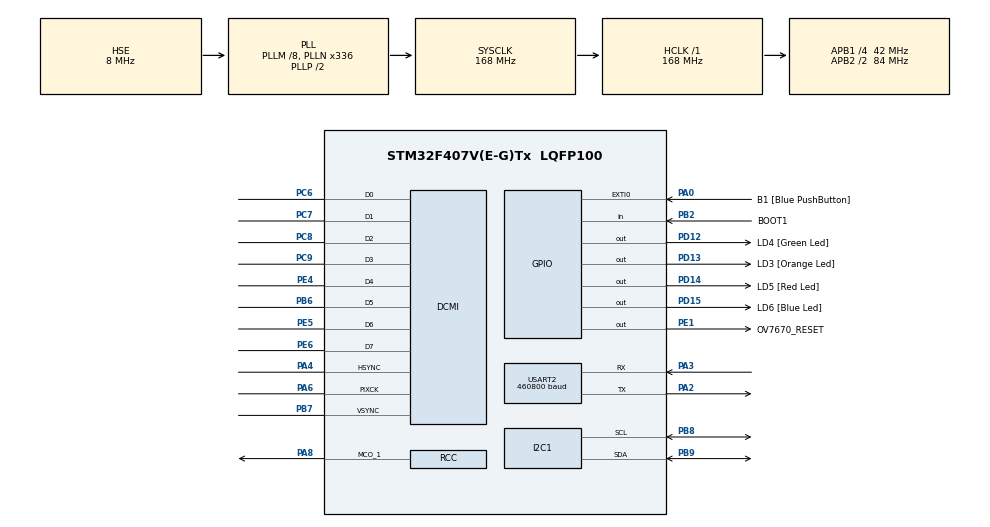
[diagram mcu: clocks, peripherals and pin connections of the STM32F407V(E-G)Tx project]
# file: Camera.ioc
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DCMI.JPEGMode=DCMI_JPEG_DISABLE
DCMI.PCKPolarity=DCMI_PCKPOLARITY_RISING
DCMI.VSPolarity=DCMI_VSPOLARITY_HIGH
Dma.DCMI.0.Direction=DMA_PERIPH_TO_MEMORY
Dma.DCMI.0.FIFOMode=DMA_FIFOMODE_DISABLE
Dma.DCMI.0.Instance=DMA2_Stream1
Dma.DCMI.0.MemDataAlignment=DMA_MDATAALIGN_WORD
Dma.DCMI.0.MemInc=DMA_MINC_ENABLE
Dma.DCMI.0.Mode=DMA_NORMAL
Dma.DCMI.0.PeriphDataAlignment=DMA_PDATAALIGN_WORD
Dma.DCMI.0.PeriphInc=DMA_PINC_DISABLE
Dma.DCMI.0.Priority=DMA_PRIORITY_HIGH
Dma.Request0=DCMI
Dma.Request1=USART2_RX
Dma.USART2_RX.1.Direction=DMA_PERIPH_TO_MEMORY
Dma.USART2_RX.1.FIFOMode=DMA_FIFOMODE_DISABLE
Dma.USART2_RX.1.Instance=DMA1_Stream5
Dma.USART2_RX.1.MemDataAlignment=DMA_MDATAALIGN_BYTE
Dma.USART2_RX.1.MemInc=DMA_MINC_ENABLE
Dma.USART2_RX.1.Mode=DMA_NORMAL
Dma.USART2_RX.1.PeriphDataAlignment=DMA_PDATAALIGN_BYTE
Dma.USART2_RX.1.PeriphInc=DMA_PINC_DISABLE
Dma.USART2_RX.1.Priority=DMA_PRIORITY_LOW
Mcu.Family=STM32F4
Mcu.Name=STM32F407V(E-G)Tx
Mcu.Package=LQFP100
NVIC.DCMI_IRQn=true\:0\:0\:false\:false\:true\:true
NVIC.DMA1_Stream5_IRQn=true\:0\:0\:false\:false\:true\:false
NVIC.DMA2_Stream1_IRQn=true\:0\:0\:false\:false\:true\:false
NVIC.PriorityGroup=NVIC_PRIORITYGROUP_0
NVIC.USART2_IRQn=true\:0\:0\:false\:false\:true\:true
PA0-WKUP.GPIO_Label=B1 [Blue PushButton]
PA0-WKUP.GPIO_ModeDefaultEXTI=GPIO_MODE_EVT_RISING
PA0-WKUP.GPIO_PuPd=GPIO_NOPULL
PA0-WKUP.Signal=GPXTI0
PA13.GPIO_Label=SWDIO
PA13.Mode=Serial_Wire
PA13.Signal=SYS_JTMS-SWDIO
PA14.GPIO_Label=SWCLK
PA14.Mode=Serial_Wire
PA14.Signal=SYS_JTCK-SWCLK
PA2.Mode=Asynchronous
PA2.Signal=USART2_TX
PA3.Mode=Asynchronous
PA3.Signal=USART2_RX
PA4.Mode=Slave_8_bits_External_Synchro
PA4.Signal=DCMI_HSYNC
PA6.Mode=Slave_8_bits_External_Synchro
PA6.Signal=DCMI_PIXCK
PA8.GPIO_Speed=GPIO_SPEED_FREQ_VERY_HIGH
PA8.Mode=Clock-out-1
PA8.Signal=RCC_MCO_1
PB2.GPIO_Label=BOOT1
PB2.GPIO_Mode=GPIO_MODE_INPUT
PB2.GPIO_PuPd=GPIO_NOPULL
PB2.Signal=GPIO_Input
PB3.GPIO_Label=SWO
PB3.Signal=SYS_JTDO-SWO
PB6.Mode=Slave_8_bits_External_Synchro
PB6.Signal=DCMI_D5
PB7.Mode=Slave_8_bits_External_Synchro
PB7.Signal=DCMI_VSYNC
PB8.GPIO_PuPdOD=GPIO_NOPULL
PB8.Mode=I2C
PB8.Signal=I2C1_SCL
PB9.GPIO_PuPdOD=GPIO_NOPULL
PB9.Mode=I2C
PB9.Signal=I2C1_SDA
PC14-OSC32_IN.GPIO_Label=PC14-OSC32_IN
PC14-OSC32_IN.Signal=RCC_OSC32_IN
PC15-OSC32_OUT.GPIO_Label=PC15-OSC32_OUT
PC15-OSC32_OUT.Signal=RCC_OSC32_OUT
PC6.Mode=Slave_8_bits_External_Synchro
PC6.Signal=DCMI_D0
PC7.Mode=Slave_8_bits_External_Synchro
PC7.Signal=DCMI_D1
PC8.Mode=Slave_8_bits_External_Synchro
PC8.Signal=DCMI_D2
PC9.Mode=Slave_8_bits_External_Synchro
PC9.Signal=DCMI_D3
PD12.GPIO_Label=LD4 [Green Led]
PD12.GPIO_PuPd=GPIO_NOPULL
PD12.GPIO_Speed=GPIO_SPEED_FREQ_LOW
PD12.Signal=GPIO_Output
PD13.GPIO_Label=LD3 [Orange Led]
PD13.GPIO_PuPd=GPIO_NOPULL
PD13.GPIO_Speed=GPIO_SPEED_FREQ_LOW
PD13.Signal=GPIO_Output
PD14.GPIO_Label=LD5 [Red Led]
PD14.GPIO_PuPd=GPIO_NOPULL
PD14.GPIO_Speed=GPIO_SPEED_FREQ_LOW
PD14.Signal=GPIO_Output
PD15.GPIO_Label=LD6 [Blue Led]
PD15.GPIO_PuPd=GPIO_NOPULL
PD15.GPIO_Speed=GPIO_SPEED_FREQ_LOW
PD15.Signal=GPIO_Output
PE1.GPIO_Label=OV7670_RESET
PE1.GPIO_PuPd=GPIO_NOPULL
PE1.PinState=GPIO_PIN_RESET
PE1.Signal=GPIO_Output
PE4.Mode=Slave_8_bits_External_Synchro
PE4.Signal=DCMI_D4
PE5.Mode=Slave_8_bits_External_Synchro
PE5.Signal=DCMI_D6
PE6.Mode=Slave_8_bits_External_Synchro
PE6.Signal=DCMI_D7
PH0-OSC_IN.GPIO_Label=PH0-OSC_IN
PH0-OSC_IN.Mode=HSE-External-Oscillator
PH0-OSC_IN.Signal=RCC_OSC_IN
PH1-OSC_OUT.GPIO_Label=PH1-OSC_OUT
PH1-OSC_OUT.Mode=HSE-External-Oscillator
PH1-OSC_OUT.Signal=RCC_OSC_OUT
ProjectManager.HeapSize=0x200
ProjectManager.StackSize=0x400
ProjectManager.TargetToolchain=TrueSTUDIO
RCC.48MHZClocksFreq_Value=48000000
RCC.AHBFreq_Value=168000000
RCC.APB1CLKDivider=RCC_HCLK_DIV4
RCC.APB1Freq_Value=42000000
RCC.APB1TimFreq_Value=84000000
RCC.APB2CLKDivider=RCC_HCLK_DIV2
RCC.APB2Freq_Value=84000000
RCC.APB2TimFreq_Value=168000000
RCC.CortexFreq_Value=168000000
RCC.HCLKFreq_Value=168000000
RCC.HSE_VALUE=8000000
RCC.HSI_VALUE=16000000
RCC.LSE_VALUE=32768
RCC.PLLM=8
RCC.PLLN=336
RCC.PLLQ=7
RCC.PLLSourceVirtual=RCC_PLLSOURCE_HSE
RCC.RCC_MCO1Source=RCC_MCO1SOURCE_PLLCLK
RCC.RCC_MCODiv1=RCC_MCODIV_4
RCC.SYSCLKFreq_VALUE=168000000
RCC.SYSCLKSource=RCC_SYSCLKSOURCE_PLLCLK
RCC.VCOOutputFreq_Value=336000000
USART2.BaudRate=460800
USART2.VirtualMode=VM_ASYNC
board=STM32F4DISCOVERY

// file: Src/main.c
/* USER CODE BEGIN Header */
/**
  ******************************************************************************
  * @file           : main.c
  * @brief          : Main program body
  ******************************************************************************
  ** This notice applies to any and all portions of this file
  * that are not between comment pairs USER CODE BEGIN and
  * USER CODE END. Other portions of this file, whether
  * inserted by the user or by software development tools
  * are owned by their respective copyright owners.
  *
  * COPYRIGHT(c) 2019 STMicroelectronics
  *
  * Redistribution and use in source and binary forms, with or without modification,
  * are permitted provided that the following conditions are met:
  *   1. Redistributions of source code must retain the above copyright notice,
  *      this list of conditions and the following disclaimer.
  *   2. Redistributions in binary form must reproduce the above copyright notice,
  *      this list of conditions and the following disclaimer in the documentation
  *      and/or other materials provided with the distribution.
  *   3. Neither the name of STMicroelectronics nor the names of its contributors
  *      may be used to endorse or promote products derived from this software
  *      without specific prior written permission.
  *
  * THIS SOFTWARE IS PROVIDED BY THE COPYRIGHT HOLDERS AND CONTRIBUTORS "AS IS"
  * AND ANY EXPRESS OR IMPLIED WARRANTIES, INCLUDING, BUT NOT LIMITED TO, THE
  * IMPLIED WARRANTIES OF MERCHANTABILITY AND FITNESS FOR A PARTICULAR PURPOSE ARE
  * DISCLAIMED. IN NO EVENT SHALL THE COPYRIGHT HOLDER OR CONTRIBUTORS BE LIABLE
  * FOR ANY DIRECT, INDIRECT, INCIDENTAL, SPECIAL, EXEMPLARY, OR CONSEQUENTIAL
  * DAMAGES (INCLUDING, BUT NOT LIMITED TO, PROCUREMENT OF SUBSTITUTE GOODS OR
  * SERVICES; LOSS OF USE, DATA, OR PROFITS; OR BUSINESS INTERRUPTION) HOWEVER
  * CAUSED AND ON ANY THEORY OF LIABILITY, WHETHER IN CONTRACT, STRICT LIABILITY,
  * OR TORT (INCLUDING NEGLIGENCE OR OTHERWISE) ARISING IN ANY WAY OUT OF THE USE
  * OF THIS SOFTWARE, EVEN IF ADVISED OF THE POSSIBILITY OF SUCH DAMAGE.
  *
  ******************************************************************************
  */
/* USER CODE END Header */

#include "main.h"

/* USER CODE BEGIN Includes */
#include "ov7670.h"
#include "image.h"
#include <stdlib.h>
#include <stdio.h>
#include <stdbool.h>
#include "arm_math.h"
#include "dct.h"
/* USER CODE END Includes */

/* USER CODE BEGIN PTD */
typedef enum {
  NOP, PIXELS, DIFF, GRAY, EDGE
} mode;

/* USER CODE END PTD */

DCMI_HandleTypeDef hdcmi;
DMA_HandleTypeDef hdma_dcmi;

I2C_HandleTypeDef hi2c1;

UART_HandleTypeDef huart2;
DMA_HandleTypeDef hdma_usart2_rx;

/* USER CODE BEGIN PV */
volatile bool pic_taken = false;
volatile char cmd;
volatile mode output_mode = NOP;

#ifdef OUTPUT_128
  uint16_t image128[128][128];
  uint16_t prev_image128[128][128];
#elif defined OUTPUT_32
  uint16_t image32[32][32];
  uint16_t prev_image32[32][32];
  uint8_t gray_u8_32[32][32];
  float32_t buf1_32[32][32];
  float32_t buf2_32[32][32];
  dct2_instance_f32 S;
#endif

  uint16_t framebuf[QCIF_HEIGHT][QCIF_WIDTH] = { 0 };

/* USER CODE END PV */

void SystemClock_Config(void);
static void MX_GPIO_Init(void);
static void MX_DMA_Init(void);
static void MX_DCMI_Init(void);
static void MX_I2C1_Init(void);
static void MX_USART2_UART_Init(void);

/* USER CODE BEGIN 0 */
void uart_tx(uint8_t *pbuf, int len) {
  HAL_UART_Transmit(&huart2, pbuf, len, 3000);
}

void f32_to_u8(float32_t src[32][32], uint8_t dst[32][32]) {
for (int j=0; j<32;j++) {
  for (int i=0; i<32; i++) {
    dst[j][i] = (float32_t)src[j][i];
  }
}
}

void u8_to_f32(uint8_t src[32][32], float32_t dst[32][32]) {
for (int j=0; j<32;j++) {
  for (int i=0; i<32; i++) {
    dst[j][i] = (uint8_t)src[j][i];
  }
}
}

// Coefficients cutoff (high-pass filter)
void hpf(float32_t buf[32][32], int cutoff) {
  for (int j=0; j<cutoff; j++) {
    for (int i=0; i<cutoff; i++) {
      buf[j][i] = 0;
    }
  }
}

/* USER CODE END 0 */

int main(void)
{

  /* MCU Configuration--------------------------------------------------------*/

  /* Reset of all peripherals, Initializes the Flash interface and the Systick. */
  HAL_Init();

  /* Configure the system clock */
  SystemClock_Config();

  /* Initialize all configured peripherals */
  MX_GPIO_Init();
  MX_DMA_Init();
  MX_DCMI_Init();
  MX_I2C1_Init();
  MX_USART2_UART_Init();
  /* USER CODE BEGIN 2 */
  HAL_UART_Receive_IT(&huart2, (uint8_t *) &cmd, 1);

  ov7670_init(&hi2c1, &hdcmi);
  ov7670_conf();
#ifdef OUTPUT_32
  dct2_2d_init_f32(&S, 32, 32);
#endif
  /* USER CODE END 2 */

  /* Infinite loop */
  /* USER CODE BEGIN WHILE */
  while (1)
  {
    if (output_mode > NOP) {
      ov7670_take_snapshot((uint32_t)framebuf, QCIF_WIDTH * QCIF_HEIGHT / 2);
      while (!pic_taken);

#ifdef DEBUG
      for (int i=0; i<16; i++) {
        printf("%02x ", framebuf[i]);
      }
      printf("\n");
      for (int i= QCIF_WIDTH * QCIF_HEIGHT*2-1; i>=0; i--) {
        if (framebuf[i] != 0) {
          printf("tail index: %u\n", i);
          break;
        }
      }
      printf("pic_taken: %u\n", pic_taken);
#endif

#ifdef OUTPUT_128
      qcif_to_128x128(framebuf, image128);
      switch(output_mode) {
      case DIFF:
        diff(prev_image128, image128);
        uart_tx((uint8_t *)image128, 128*128*2);
        break;
      default:
        uart_tx((uint8_t *)image128, 128*128*2);
        break;
      }
#elif defined OUTPUT_32
      qcif_to_32x32(framebuf, image32);
      switch(output_mode) {
      case DIFF:
        diff(prev_image32, image32);
        uart_tx((uint8_t *)image32, 32*32*2);
        break;
      case GRAY:
        to_grayscale(image32, gray_u8_32);
        uart_tx((uint8_t *)gray_u8_32, 32*32);
        break;
      case EDGE:  // Extract edge via DCT/IDCT.
        to_grayscale(image32, gray_u8_32);
        u8_to_f32(gray_u8_32, buf1_32);
        dct2_2d_f32(&S, (float32_t *)buf1_32, (float32_t *)buf2_32, 0);
        hpf(buf2_32, COEF_CUTOFF);
        dct2_2d_f32(&S, (float32_t *)buf2_32, (float32_t *)buf1_32, 1);
        f32_to_u8(buf1_32, gray_u8_32);
        uart_tx((uint8_t *)gray_u8_32, 32*32);
        break;
      default:
        uart_tx((uint8_t *)image32, 32*32*2);
        break;
      }
#else
      uart_tx((uint8_t *)framebuf, QCIF_WIDTH * QCIF_HEIGHT * 2);
#endif
      pic_taken = false;
      output_mode = NOP;
    }

    /* USER CODE END WHILE */

  }
}

void SystemClock_Config(void)
{
  RCC_OscInitTypeDef RCC_OscInitStruct = {0};
  RCC_ClkInitTypeDef RCC_ClkInitStruct = {0};

  /**Configure the main internal regulator output voltage
  */
  __HAL_RCC_PWR_CLK_ENABLE();
  __HAL_PWR_VOLTAGESCALING_CONFIG(PWR_REGULATOR_VOLTAGE_SCALE1);
  /**Initializes the CPU, AHB and APB busses clocks
  */
  RCC_OscInitStruct.OscillatorType = RCC_OSCILLATORTYPE_HSE;
  RCC_OscInitStruct.HSEState = RCC_HSE_ON;
  RCC_OscInitStruct.PLL.PLLState = RCC_PLL_ON;
  RCC_OscInitStruct.PLL.PLLSource = RCC_PLLSOURCE_HSE;
  RCC_OscInitStruct.PLL.PLLM = 8;
  RCC_OscInitStruct.PLL.PLLN = 336;
  RCC_OscInitStruct.PLL.PLLP = RCC_PLLP_DIV2;
  RCC_OscInitStruct.PLL.PLLQ = 7;
  if (HAL_RCC_OscConfig(&RCC_OscInitStruct) != HAL_OK)
  {
    Error_Handler();
  }
  /**Initializes the CPU, AHB and APB busses clocks
  */
  RCC_ClkInitStruct.ClockType = RCC_CLOCKTYPE_HCLK|RCC_CLOCKTYPE_SYSCLK
                              |RCC_CLOCKTYPE_PCLK1|RCC_CLOCKTYPE_PCLK2;
  RCC_ClkInitStruct.SYSCLKSource = RCC_SYSCLKSOURCE_PLLCLK;
  RCC_ClkInitStruct.AHBCLKDivider = RCC_SYSCLK_DIV1;
  RCC_ClkInitStruct.APB1CLKDivider = RCC_HCLK_DIV4;
  RCC_ClkInitStruct.APB2CLKDivider = RCC_HCLK_DIV2;

  if (HAL_RCC_ClockConfig(&RCC_ClkInitStruct, FLASH_LATENCY_5) != HAL_OK)
  {
    Error_Handler();
  }
  HAL_RCC_MCOConfig(RCC_MCO1, RCC_MCO1SOURCE_PLLCLK, RCC_MCODIV_4);
}

static void MX_DCMI_Init(void)
{

  hdcmi.Instance = DCMI;
  hdcmi.Init.SynchroMode = DCMI_SYNCHRO_HARDWARE;
  hdcmi.Init.PCKPolarity = DCMI_PCKPOLARITY_RISING;
  hdcmi.Init.VSPolarity = DCMI_VSPOLARITY_HIGH;
  hdcmi.Init.HSPolarity = DCMI_HSPOLARITY_LOW;
  hdcmi.Init.CaptureRate = DCMI_CR_ALL_FRAME;
  hdcmi.Init.ExtendedDataMode = DCMI_EXTEND_DATA_8B;
  hdcmi.Init.JPEGMode = DCMI_JPEG_DISABLE;
  if (HAL_DCMI_Init(&hdcmi) != HAL_OK)
  {
    Error_Handler();
  }

}

static void MX_I2C1_Init(void)
{

  hi2c1.Instance = I2C1;
  hi2c1.Init.ClockSpeed = 100000;
  hi2c1.Init.DutyCycle = I2C_DUTYCYCLE_2;
  hi2c1.Init.OwnAddress1 = 0;
  hi2c1.Init.AddressingMode = I2C_ADDRESSINGMODE_7BIT;
  hi2c1.Init.DualAddressMode = I2C_DUALADDRESS_DISABLE;
  hi2c1.Init.OwnAddress2 = 0;
  hi2c1.Init.GeneralCallMode = I2C_GENERALCALL_DISABLE;
  hi2c1.Init.NoStretchMode = I2C_NOSTRETCH_DISABLE;
  if (HAL_I2C_Init(&hi2c1) != HAL_OK)
  {
    Error_Handler();
  }

}

static void MX_USART2_UART_Init(void)
{

  huart2.Instance = USART2;
  huart2.Init.BaudRate = 460800;
  huart2.Init.WordLength = UART_WORDLENGTH_8B;
  huart2.Init.StopBits = UART_STOPBITS_1;
  huart2.Init.Parity = UART_PARITY_NONE;
  huart2.Init.Mode = UART_MODE_TX_RX;
  huart2.Init.HwFlowCtl = UART_HWCONTROL_NONE;
  huart2.Init.OverSampling = UART_OVERSAMPLING_16;
  if (HAL_UART_Init(&huart2) != HAL_OK)
  {
    Error_Handler();
  }

}

static void MX_DMA_Init(void)
{
  /* DMA controller clock enable */
  __HAL_RCC_DMA2_CLK_ENABLE();
  __HAL_RCC_DMA1_CLK_ENABLE();

  /* DMA interrupt init */
  /* DMA1_Stream5_IRQn interrupt configuration */
  HAL_NVIC_SetPriority(DMA1_Stream5_IRQn, 0, 0);
  HAL_NVIC_EnableIRQ(DMA1_Stream5_IRQn);
  /* DMA2_Stream1_IRQn interrupt configuration */
  HAL_NVIC_SetPriority(DMA2_Stream1_IRQn, 0, 0);
  HAL_NVIC_EnableIRQ(DMA2_Stream1_IRQn);

}

static void MX_GPIO_Init(void)
{
  GPIO_InitTypeDef GPIO_InitStruct = {0};

  /* GPIO Ports Clock Enable */
  __HAL_RCC_GPIOE_CLK_ENABLE();
  __HAL_RCC_GPIOC_CLK_ENABLE();
  __HAL_RCC_GPIOH_CLK_ENABLE();
  __HAL_RCC_GPIOA_CLK_ENABLE();
  __HAL_RCC_GPIOB_CLK_ENABLE();
  __HAL_RCC_GPIOD_CLK_ENABLE();

  /*Configure GPIO pin Output Level */
  HAL_GPIO_WritePin(GPIOD, LD4_Pin|LD3_Pin|LD5_Pin|LD6_Pin, GPIO_PIN_RESET);

  /*Configure GPIO pin Output Level */
  HAL_GPIO_WritePin(OV7670_RESET_GPIO_Port, OV7670_RESET_Pin, GPIO_PIN_RESET);

  /*Configure GPIO pin : B1_Pin */
  GPIO_InitStruct.Pin = B1_Pin;
  GPIO_InitStruct.Mode = GPIO_MODE_EVT_RISING;
  GPIO_InitStruct.Pull = GPIO_NOPULL;
  HAL_GPIO_Init(B1_GPIO_Port, &GPIO_InitStruct);

  /*Configure GPIO pin : BOOT1_Pin */
  GPIO_InitStruct.Pin = BOOT1_Pin;
  GPIO_InitStruct.Mode = GPIO_MODE_INPUT;
  GPIO_InitStruct.Pull = GPIO_NOPULL;
  HAL_GPIO_Init(BOOT1_GPIO_Port, &GPIO_InitStruct);

  /*Configure GPIO pins : LD4_Pin LD3_Pin LD5_Pin LD6_Pin */
  GPIO_InitStruct.Pin = LD4_Pin|LD3_Pin|LD5_Pin|LD6_Pin;
  GPIO_InitStruct.Mode = GPIO_MODE_OUTPUT_PP;
  GPIO_InitStruct.Pull = GPIO_NOPULL;
  GPIO_InitStruct.Speed = GPIO_SPEED_FREQ_LOW;
  HAL_GPIO_Init(GPIOD, &GPIO_InitStruct);

  /*Configure GPIO pin : PA8 */
  GPIO_InitStruct.Pin = GPIO_PIN_8;
  GPIO_InitStruct.Mode = GPIO_MODE_AF_PP;
  GPIO_InitStruct.Pull = GPIO_NOPULL;
  GPIO_InitStruct.Speed = GPIO_SPEED_FREQ_VERY_HIGH;
  GPIO_InitStruct.Alternate = GPIO_AF0_MCO;
  HAL_GPIO_Init(GPIOA, &GPIO_InitStruct);

  /*Configure GPIO pin : OV7670_RESET_Pin */
  GPIO_InitStruct.Pin = OV7670_RESET_Pin;
  GPIO_InitStruct.Mode = GPIO_MODE_OUTPUT_PP;
  GPIO_InitStruct.Pull = GPIO_NOPULL;
  GPIO_InitStruct.Speed = GPIO_SPEED_FREQ_LOW;
  HAL_GPIO_Init(OV7670_RESET_GPIO_Port, &GPIO_InitStruct);

}

/* USER CODE BEGIN 4 */

/**
 * Called when all lines in one frame has just been received.
 */
void HAL_DCMI_FrameEventCallback(DCMI_HandleTypeDef *hdcmi) {
  pic_taken = true;
#ifdef DEBUG
  printf("DCMI FrameEventCallback\n");
#endif
}

/**
 * Command reception from viewer GUI
 */
void HAL_UART_RxCpltCallback(UART_HandleTypeDef *huart) {

  static char cmd_line[8] = { '\0' };
  static int cnt = 0;
  uint8_t value;

  cmd_line[cnt] = cmd;

  if (cmd_line[cnt] == '\n') {
    cmd_line[cnt] = '\0';
    cnt = 0;
    switch (cmd_line[0]) {
    case 'p':  // pixels
      output_mode = PIXELS;
      break;
    case 'd':  // diff
      output_mode = DIFF;
      break;
    case 'e':  // Edge
      output_mode = EDGE;
      break;
    case 'g':  // gray scale
      output_mode = GRAY;
      break;
    case 'b':  // brightness
      value = atoi(&cmd_line[1]);
      sccb_write(BRIGHT_ADDR, value);
      break;
    case 'c':  // contrast
      value = atoi(&cmd_line[1]);
      sccb_write(CONTRAS_ADDR, value);
      break;
    default:
      break;
    }
  } else if (++cnt > 7) {
    cnt = 0;
  }

  HAL_UART_Receive_IT(&huart2, (uint8_t *) &cmd, 1);
}

int _write(int file, char *pbuf, int len)
{
  HAL_UART_Transmit(&huart2, (uint8_t *)pbuf, len, 1000);
  return len;
}
/* USER CODE END 4 */

void Error_Handler(void)
{
}

/************************ (C) COPYRIGHT STMicroelectronics *****END OF FILE****/
